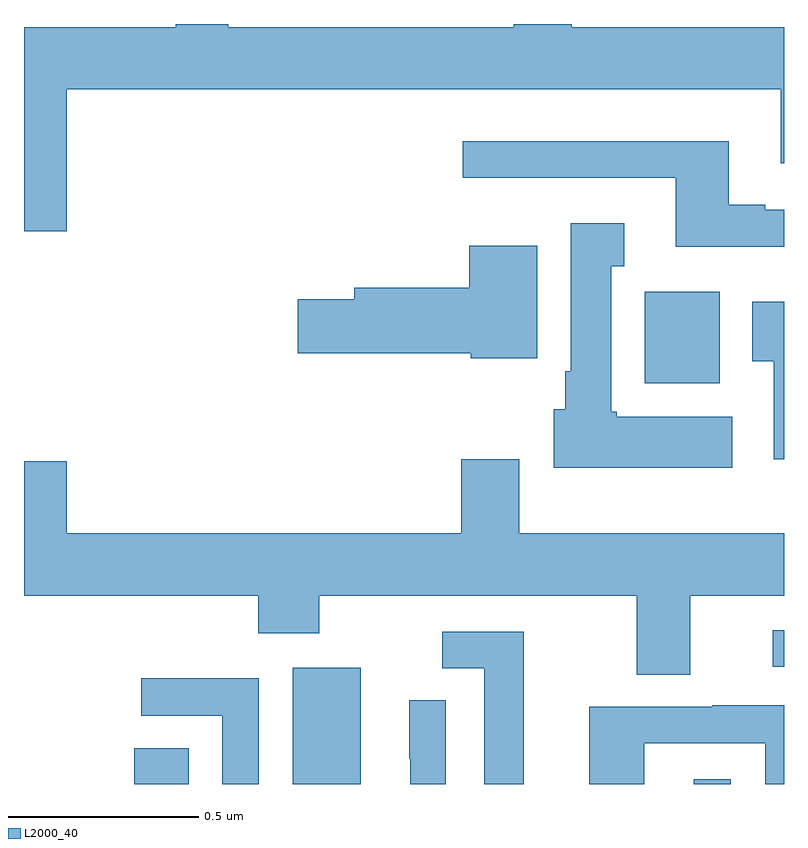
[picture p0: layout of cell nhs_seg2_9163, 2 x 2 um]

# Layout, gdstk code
import gdstk
lib = gdstk.Library(unit=1e-6, precision=1e-09)
def R(c, l, rs):  # rectangles x0, y0, x1, y1
    for r in rs: c.add(gdstk.rectangle(r[:2], r[2:], *l))
def P(c, l, *ps):  # polygons
    for p in ps: c.add(gdstk.Polygon(p, *l))
L2000_40 = (2000, 40)

nhs_seg2_9163 = lib.new_cell('nhs_seg2_9163')
R(nhs_seg2_9163, L2000_40, [(225.29,653.8,225.433,653.894), (225.707,653.8,225.886,654.106), (226.763,653.8,226.86,653.812), (226.971,654.108,227,654.204), (226.634,654.854,226.831,655.096)])
P(nhs_seg2_9163, L2000_40, [(225.112,655.628),(226.991,655.628),(226.991,655.434),(227,655.434),(227,655.792),(226.442,655.792),(226.442,655.8),(226.289,655.8),(226.289,655.792),(225.537,655.792),(225.537,655.8),(225.399,655.8),(225.399,655.792),(225,655.792),(225,655.254),(225.112,655.254)],
  [(227,655.311),(226.951,655.311),(226.951,655.324),(226.855,655.324),(226.855,655.492),(226.155,655.492),(226.155,655.395),(226.715,655.395),(226.715,655.214),(227,655.214)],
  [(226.864,654.766),(226.56,654.766),(226.56,654.78),(226.546,654.78),(226.546,655.163),(226.579,655.163),(226.579,655.276),(226.439,655.276),(226.439,654.886),(226.424,654.886),(226.424,654.786),(226.394,654.786),(226.394,654.632),(226.864,654.632)],
  [(226.351,655.216),(226.172,655.216),(226.172,655.106),(225.869,655.106),(225.869,655.076),(225.72,655.076),(225.72,654.934),(226.176,654.934),(226.176,654.92),(226.351,654.92)],
  [(227,655.069),(226.916,655.069),(226.916,654.913),(226.973,654.913),(226.973,654.654),(227,654.654)],
  [(226.753,654.296),(227,654.296),(227,654.46),(226.303,654.46),(226.303,654.655),(226.151,654.655),(226.151,654.46),(225.112,654.46),(225.112,654.649),(225,654.649),(225,654.296),(225.617,654.296),(225.617,654.197),(225.777,654.197),(225.777,654.296),(226.613,654.296),(226.613,654.088),(226.753,654.088)],
  [(226.315,654.201),(226.101,654.201),(226.101,654.105),(226.211,654.105),(226.211,653.8),(226.315,653.8)],
  [(225.618,654.078),(225.309,654.078),(225.309,653.979),(225.522,653.979),(225.522,653.8),(225.618,653.8)],
  [(226.11,654.02),(226.014,654.02),(226.014,653.866),(226.016,653.866),(226.016,653.8),(226.11,653.8)],
  [(226.632,653.907),(226.95,653.907),(226.95,653.8),(227,653.8),(227,654.007),(226.811,654.007),(226.811,654.003),(226.487,654.003),(226.487,653.8),(226.632,653.8)])

lib.write_gds('nhs_seg2_9163.gds')
